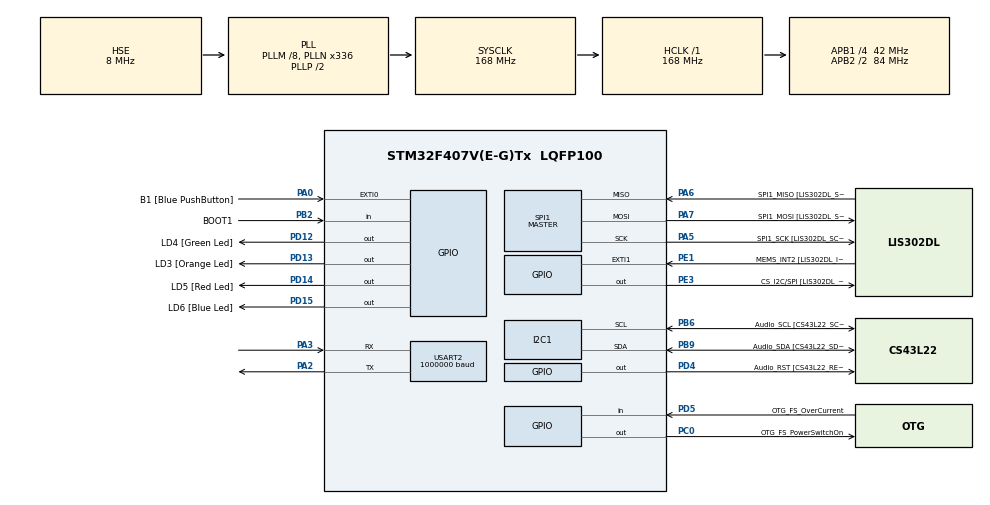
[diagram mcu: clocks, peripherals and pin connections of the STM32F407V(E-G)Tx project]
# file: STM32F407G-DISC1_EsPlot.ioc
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Dma.Request0=USART2_RX
Dma.Request1=USART2_TX
Dma.USART2_RX.0.Direction=DMA_PERIPH_TO_MEMORY
Dma.USART2_RX.0.FIFOMode=DMA_FIFOMODE_DISABLE
Dma.USART2_RX.0.Instance=DMA1_Stream5
Dma.USART2_RX.0.MemDataAlignment=DMA_MDATAALIGN_BYTE
Dma.USART2_RX.0.MemInc=DMA_MINC_ENABLE
Dma.USART2_RX.0.Mode=DMA_NORMAL
Dma.USART2_RX.0.PeriphDataAlignment=DMA_PDATAALIGN_BYTE
Dma.USART2_RX.0.PeriphInc=DMA_PINC_DISABLE
Dma.USART2_RX.0.Priority=DMA_PRIORITY_HIGH
Dma.USART2_TX.1.Direction=DMA_MEMORY_TO_PERIPH
Dma.USART2_TX.1.FIFOMode=DMA_FIFOMODE_DISABLE
Dma.USART2_TX.1.Instance=DMA1_Stream6
Dma.USART2_TX.1.MemDataAlignment=DMA_MDATAALIGN_BYTE
Dma.USART2_TX.1.MemInc=DMA_MINC_ENABLE
Dma.USART2_TX.1.Mode=DMA_CIRCULAR
Dma.USART2_TX.1.PeriphDataAlignment=DMA_PDATAALIGN_BYTE
Dma.USART2_TX.1.PeriphInc=DMA_PINC_DISABLE
Dma.USART2_TX.1.Priority=DMA_PRIORITY_HIGH
Mcu.Family=STM32F4
Mcu.Name=STM32F407V(E-G)Tx
Mcu.Package=LQFP100
NVIC.DMA1_Stream5_IRQn=true\:0\:0\:false\:false\:true\:false\:true\:true
NVIC.DMA1_Stream6_IRQn=true\:0\:0\:false\:false\:true\:false\:true\:true
NVIC.PriorityGroup=NVIC_PRIORITYGROUP_0
NVIC.TIM2_IRQn=true\:0\:0\:false\:false\:true\:true\:true\:true
PA0-WKUP.GPIO_Label=B1 [Blue PushButton]
PA0-WKUP.GPIO_ModeDefaultEXTI=GPIO_MODE_EVT_RISING
PA0-WKUP.GPIO_PuPd=GPIO_NOPULL
PA0-WKUP.Signal=GPXTI0
PA10.GPIO_Label=OTG_FS_ID
PA10.GPIO_Mode=GPIO_MODE_AF_PP
PA10.GPIO_PuPd=GPIO_NOPULL
PA10.GPIO_Speed=GPIO_SPEED_FREQ_LOW
PA10.Signal=USB_OTG_FS_ID
PA11.GPIO_Label=OTG_FS_DM
PA11.GPIO_Mode=GPIO_MODE_AF_PP
PA11.GPIO_PuPd=GPIO_NOPULL
PA11.GPIO_Speed=GPIO_SPEED_FREQ_LOW
PA11.Signal=USB_OTG_FS_DM
PA12.GPIO_Label=OTG_FS_DP
PA12.GPIO_Mode=GPIO_MODE_AF_PP
PA12.GPIO_PuPd=GPIO_NOPULL
PA12.GPIO_Speed=GPIO_SPEED_FREQ_LOW
PA12.Signal=USB_OTG_FS_DP
PA13.GPIO_Label=SWDIO
PA13.Mode=Trace_Asynchronous_SW
PA13.Signal=SYS_JTMS-SWDIO
PA14.GPIO_Label=SWCLK
PA14.Mode=Trace_Asynchronous_SW
PA14.Signal=SYS_JTCK-SWCLK
PA2.GPIO_Speed=GPIO_SPEED_FREQ_LOW
PA2.Mode=Asynchronous
PA2.Signal=USART2_TX
PA3.GPIO_Speed=GPIO_SPEED_FREQ_LOW
PA3.Mode=Asynchronous
PA3.Signal=USART2_RX
PA4.GPIO_Label=I2S3_WS [CS43L22_LRCK]
PA4.GPIO_Mode=GPIO_MODE_AF_PP
PA4.GPIO_PuPd=GPIO_NOPULL
PA4.GPIO_Speed=GPIO_SPEED_FREQ_LOW
PA4.Signal=I2S3_WS
PA5.GPIO_Label=SPI1_SCK [LIS302DL_SCL/SPC]
PA5.GPIO_Mode=GPIO_MODE_AF_PP
PA5.GPIO_PuPd=GPIO_NOPULL
PA5.GPIO_Speed=GPIO_SPEED_FREQ_LOW
PA5.Mode=Full_Duplex_Master
PA5.Signal=SPI1_SCK
PA6.GPIO_Label=SPI1_MISO [LIS302DL_SDO]
PA6.GPIO_Mode=GPIO_MODE_AF_PP
PA6.GPIO_PuPd=GPIO_NOPULL
PA6.GPIO_Speed=GPIO_SPEED_FREQ_LOW
PA6.Mode=Full_Duplex_Master
PA6.Signal=SPI1_MISO
PA7.GPIO_Label=SPI1_MOSI [LIS302DL_SDA/SDI/SDO]
PA7.GPIO_Mode=GPIO_MODE_AF_PP
PA7.GPIO_PuPd=GPIO_NOPULL
PA7.GPIO_Speed=GPIO_SPEED_FREQ_LOW
PA7.Mode=Full_Duplex_Master
PA7.Signal=SPI1_MOSI
PA9.GPIO_Label=VBUS_FS
PA9.GPIO_Mode=GPIO_MODE_INPUT
PA9.GPIO_PuPd=GPIO_NOPULL
PA9.Signal=USB_OTG_FS_VBUS
PB10.GPIO_Label=CLK_IN [MP45DT02_CLK]
PB10.GPIO_Mode=GPIO_MODE_AF_PP
PB10.GPIO_PuPd=GPIO_NOPULL
PB10.GPIO_Speed=GPIO_SPEED_FREQ_LOW
PB10.Signal=I2S2_CK
PB2.GPIO_Label=BOOT1
PB2.GPIO_Mode=GPIO_MODE_INPUT
PB2.GPIO_PuPd=GPIO_NOPULL
PB2.Signal=GPIO_Input
PB3.GPIO_Label=SWO
PB3.Mode=Trace_Asynchronous_SW
PB3.Signal=SYS_JTDO-SWO
PB6.GPIO_Label=Audio_SCL [CS43L22_SCL]
PB6.GPIO_Mode=GPIO_MODE_AF_OD
PB6.GPIO_Pu=GPIO_PULLUP
PB6.GPIO_PuPd=GPIO_NOPULL
PB6.GPIO_Speed=GPIO_SPEED_FREQ_LOW
PB6.Mode=I2C
PB6.Signal=I2C1_SCL
PB9.GPIO_Label=Audio_SDA [CS43L22_SDA]
PB9.GPIO_Mode=GPIO_MODE_AF_OD
PB9.GPIO_Pu=GPIO_PULLUP
PB9.GPIO_PuPd=GPIO_NOPULL
PB9.GPIO_Speed=GPIO_SPEED_FREQ_LOW
PB9.Mode=I2C
PB9.Signal=I2C1_SDA
PC0.GPIO_Label=OTG_FS_PowerSwitchOn
PC0.GPIO_PuPd=GPIO_NOPULL
PC0.GPIO_Speed=GPIO_SPEED_FREQ_LOW
PC0.PinState=GPIO_PIN_SET
PC0.Signal=GPIO_Output
PC10.GPIO_Label=I2S3_SCK [CS43L22_SCLK]
PC10.GPIO_Mode=GPIO_MODE_AF_PP
PC10.GPIO_PuPd=GPIO_NOPULL
PC10.GPIO_Speed=GPIO_SPEED_FREQ_LOW
PC10.Signal=I2S3_CK
PC12.GPIO_Label=I2S3_SD [CS43L22_SDIN]
PC12.GPIO_Mode=GPIO_MODE_AF_PP
PC12.GPIO_PuPd=GPIO_NOPULL
PC12.GPIO_Speed=GPIO_SPEED_FREQ_LOW
PC12.Signal=I2S3_SD
PC14-OSC32_IN.GPIO_Label=PC14-OSC32_IN
PC14-OSC32_IN.Mode=LSE-External-Oscillator
PC14-OSC32_IN.Signal=RCC_OSC32_IN
PC15-OSC32_OUT.GPIO_Label=PC15-OSC32_OUT
PC15-OSC32_OUT.Mode=LSE-External-Oscillator
PC15-OSC32_OUT.Signal=RCC_OSC32_OUT
PC3.GPIO_Label=PDM_OUT [MP45DT02_DOUT]
PC3.GPIO_Mode=GPIO_MODE_AF_PP
PC3.GPIO_PuPd=GPIO_NOPULL
PC3.GPIO_Speed=GPIO_SPEED_FREQ_LOW
PC3.Signal=I2S2_SD
PC7.GPIO_Label=I2S3_MCK [CS43L22_MCLK]
PC7.GPIO_Mode=GPIO_MODE_AF_PP
PC7.GPIO_PuPd=GPIO_NOPULL
PC7.GPIO_Speed=GPIO_SPEED_FREQ_LOW
PC7.Signal=I2S3_MCK
PD12.GPIO_Label=LD4 [Green Led]
PD12.GPIO_PuPd=GPIO_NOPULL
PD12.GPIO_Speed=GPIO_SPEED_FREQ_LOW
PD12.Signal=GPIO_Output
PD13.GPIO_Label=LD3 [Orange Led]
PD13.GPIO_PuPd=GPIO_NOPULL
PD13.GPIO_Speed=GPIO_SPEED_FREQ_LOW
PD13.Signal=GPIO_Output
PD14.GPIO_Label=LD5 [Red Led]
PD14.GPIO_PuPd=GPIO_NOPULL
PD14.GPIO_Speed=GPIO_SPEED_FREQ_LOW
PD14.Signal=GPIO_Output
PD15.GPIO_Label=LD6 [Blue Led]
PD15.GPIO_PuPd=GPIO_NOPULL
PD15.GPIO_Speed=GPIO_SPEED_FREQ_LOW
PD15.Signal=GPIO_Output
PD4.GPIO_Label=Audio_RST [CS43L22_RESET]
PD4.GPIO_PuPd=GPIO_NOPULL
PD4.GPIO_Speed=GPIO_SPEED_FREQ_LOW
PD4.Signal=GPIO_Output
PD5.GPIO_Label=OTG_FS_OverCurrent
PD5.GPIO_Mode=GPIO_MODE_INPUT
PD5.GPIO_PuPd=GPIO_NOPULL
PD5.Signal=GPIO_Input
PE1.GPIO_Label=MEMS_INT2 [LIS302DL_INT2]
PE1.GPIO_ModeDefaultEXTI=GPIO_MODE_EVT_RISING
PE1.GPIO_PuPd=GPIO_NOPULL
PE1.Signal=GPXTI1
PE3.GPIO_Label=CS_I2C/SPI [LIS302DL_CS_I2C/SPI]
PE3.GPIO_PuPd=GPIO_NOPULL
PE3.GPIO_Speed=GPIO_SPEED_FREQ_LOW
PE3.Signal=GPIO_Output
PH0-OSC_IN.GPIO_Label=PH0-OSC_IN
PH0-OSC_IN.Mode=HSE-External-Oscillator
PH0-OSC_IN.Signal=RCC_OSC_IN
PH1-OSC_OUT.GPIO_Label=PH1-OSC_OUT
PH1-OSC_OUT.Mode=HSE-External-Oscillator
PH1-OSC_OUT.Signal=RCC_OSC_OUT
ProjectManager.HeapSize=0x200
ProjectManager.StackSize=0x400
ProjectManager.TargetToolchain=STM32CubeIDE
RCC.48MHZClocksFreq_Value=48000000
RCC.AHBFreq_Value=168000000
RCC.APB1CLKDivider=RCC_HCLK_DIV4
RCC.APB1Freq_Value=42000000
RCC.APB1TimFreq_Value=84000000
RCC.APB2CLKDivider=RCC_HCLK_DIV2
RCC.APB2Freq_Value=84000000
RCC.APB2TimFreq_Value=168000000
RCC.CortexFreq_Value=168000000
RCC.HCLKFreq_Value=168000000
RCC.HSE_VALUE=8000000
RCC.HSI_VALUE=16000000
RCC.PLLM=8
RCC.PLLN=336
RCC.PLLQ=7
RCC.PLLSourceVirtual=RCC_PLLSOURCE_HSE
RCC.SYSCLKFreq_VALUE=168000000
RCC.SYSCLKSource=RCC_SYSCLKSOURCE_PLLCLK
RCC.VCOOutputFreq_Value=336000000
SPI1.BaudRatePrescaler-Full_Duplex_Master=SPI_BAUDRATEPRESCALER_2
SPI1.CalculateBaudRate-Full_Duplex_Master=42.0 MBits/s
SPI1.Direction=SPI_DIRECTION_2LINES
SPI1.Mode=SPI_MODE_MASTER
SPI1.Mode-Full_Duplex_Master=SPI_MODE_MASTER
SPI1.VirtualType=VM_MASTER
TIM2.AutoReloadPreload=TIM_AUTORELOAD_PRELOAD_ENABLE
TIM2.Period=100000-1
TIM2.Prescaler=168-1
TIM2.TIM_MasterOutputTrigger=TIM_TRGO_RESET
USART2.BaudRate=1000000
USART2.VirtualMode=VM_ASYNC
VP_TIM2_VS_ClockSourceINT.Mode=Internal
board=STM32F407G-DISC1

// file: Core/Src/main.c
/* USER CODE BEGIN Header */
/**
  ******************************************************************************
  * @file           : main.c
  * @brief          : Main program body
  ******************************************************************************
  * @attention
  *
  * Copyright (c) 2022 STMicroelectronics.
  * All rights reserved.
  *
  * This software is licensed under terms that can be found in the LICENSE file
  * in the root directory of this software component.
  * If no LICENSE file comes with this software, it is provided AS-IS.
  *
  ******************************************************************************
  */
/* USER CODE END Header */
#include "main.h"

/* USER CODE BEGIN Includes */

//#include <stdio.h>

// ESPlot
#pragma GCC diagnostic ignored "-Wdiscarded-qualifiers"

#define USART			0
#define FT4222			1
#define COMM_INTERFACE	USART

#include "comm_prot.h"
#include "math.h"

//Signals used for plotting
uint8_t  cnt_8 = 0;
uint16_t cnt_16 = 0;
float harmonic_signal = 0.0f;

/* USER CODE END Includes */

 I2C_HandleTypeDef hi2c1;

SPI_HandleTypeDef hspi1;

TIM_HandleTypeDef htim2;

UART_HandleTypeDef huart2;
DMA_HandleTypeDef hdma_usart2_rx;
DMA_HandleTypeDef hdma_usart2_tx;

/* USER CODE BEGIN PV */

// Structure of the USB Protocol
volatile comm_prot USB_COMM;

/* USER CODE END PV */

void SystemClock_Config(void);
static void MX_GPIO_Init(void);
static void MX_I2C1_Init(void);
static void MX_DMA_Init(void);
static void MX_USART2_UART_Init(void);
static void MX_SPI1_Init(void);
static void MX_TIM2_Init(void);
/* USER CODE BEGIN PFP */

//#define PUTCHAR_PROTOTYPE int __io_putchar(int ch)

/* USER CODE END PFP */

int main(void)
{

  /* MCU Configuration--------------------------------------------------------*/

  /* Reset of all peripherals, Initializes the Flash interface and the Systick. */
  HAL_Init();

  /* Configure the system clock */
  SystemClock_Config();

  /* Initialize all configured peripherals */
  MX_GPIO_Init();
  MX_I2C1_Init();
  MX_DMA_Init();
  MX_USART2_UART_Init();
  MX_SPI1_Init();
  MX_TIM2_Init();
  /* USER CODE BEGIN 2 */

  //Initialize the USB protocol
  comm_prot_init_struct(&USB_COMM);

  //Set rx signals
  comm_prot_set_rx_data_info(&USB_COMM, 0, "LED1");

  //Set tx signals
  comm_prot_set_tx_data_info(&USB_COMM, 0, SCALING_FACTOR_APPLIED, TYPE_UINT8,  "Test UINT8", 		PLOT_NR_1, 1.0, 4, BLACK);
  comm_prot_set_tx_data_info(&USB_COMM, 1, SCALING_FACTOR_APPLIED, TYPE_INT8,   "Test INT8", 		PLOT_NR_1, 2.0, 4, BLUE);
  comm_prot_set_tx_data_info(&USB_COMM, 2, SCALING_FACTOR_APPLIED, TYPE_UINT16, "Test UINT16", 		PLOT_NR_2, 3.14, 4, RED);
  comm_prot_set_tx_data_info(&USB_COMM, 3, SCALING_FACTOR_APPLIED, TYPE_INT16,  "Test INT16", 		PLOT_NR_2, 4.0, 4, RANDOM);
  comm_prot_set_tx_data_info(&USB_COMM, 4, SCALING_FACTOR_APPLIED, TYPE_UINT32, "Test UINT32", 		PLOT_NR_3, 2.0, 4, BLUE);
  comm_prot_set_tx_data_info(&USB_COMM, 5, SCALING_FACTOR_APPLIED, TYPE_INT32,  "Test INT32", 		PLOT_NR_3, 3.0, 4, RED);
  comm_prot_set_tx_data_info(&USB_COMM, 6, SCALING_FACTOR_APPLIED, TYPE_FLOAT,  "Test FLOAT", 		PLOT_NR_4, 1/3.14, 4, RANDOM);
  comm_prot_set_tx_data_info(&USB_COMM, 7, SCALING_FACTOR_NOT_APPLIED, TYPE_FLOAT, "Harmonic signal", PLOT_NR_5, 1.0, 4, BLACK);
  comm_prot_init_comm(&USB_COMM);

  //Initiate first transfer to set all the settings
//  HAL_SPI_TransmitReceive_DMA(&hspi3, (uint8_t*) USB_COMM.tx_i_buff, (uint8_t*) USB_COMM.rx_d_buff, (uint16_t) USB_COMM.buff_dimension_info);
//  HAL_StatusTypeDef HAL_SPI_TransmitReceive_DMA(SPI_HandleTypeDef *hspi, uint8_t *pTxData, uint8_t *pRxData, uint16_t Size)

//  HAL_UART_Transmit_DMA(&huart2, (uint8_t*) USB_COMM.tx_i_buff, (uint16_t) USB_COMM.buff_dimension_info);
//  HAL_UART_Receive_DMA(&huart2, (uint8_t*) USB_COMM.rx_d_buff, (uint16_t) USB_COMM.buff_dimension_info);

  // start_data_transfer(uint32_t buffer_size, uint8_t* tx_data_buff, uint8_t* rx_data_buff);
  start_data_transfer((uint16_t) USB_COMM.buff_dimension_info, (uint8_t*) USB_COMM.tx_i_buff, (uint8_t*) USB_COMM.rx_i_buff);

  //Start Timer (1 kHz Timer)
  HAL_TIM_Base_Start_IT(&htim2);

  /* USER CODE END 2 */

  /* Infinite loop */
  /* USER CODE BEGIN WHILE */
  while (1)
  {

	  HAL_Delay(2000);
	  comm_prot_set_cmd(&USB_COMM, RECORD_CMD);
      HAL_Delay(2000);
	  comm_prot_set_cmd(&USB_COMM, NO_CMD);
    /* USER CODE END WHILE */

  }
}

void SystemClock_Config(void)
{
  RCC_OscInitTypeDef RCC_OscInitStruct = {0};
  RCC_ClkInitTypeDef RCC_ClkInitStruct = {0};

  /** Configure the main internal regulator output voltage
  */
  __HAL_RCC_PWR_CLK_ENABLE();
  __HAL_PWR_VOLTAGESCALING_CONFIG(PWR_REGULATOR_VOLTAGE_SCALE1);

  /** Initializes the RCC Oscillators according to the specified parameters
  * in the RCC_OscInitTypeDef structure.
  */
  RCC_OscInitStruct.OscillatorType = RCC_OSCILLATORTYPE_HSE;
  RCC_OscInitStruct.HSEState = RCC_HSE_ON;
  RCC_OscInitStruct.PLL.PLLState = RCC_PLL_ON;
  RCC_OscInitStruct.PLL.PLLSource = RCC_PLLSOURCE_HSE;
  RCC_OscInitStruct.PLL.PLLM = 8;
  RCC_OscInitStruct.PLL.PLLN = 336;
  RCC_OscInitStruct.PLL.PLLP = RCC_PLLP_DIV2;
  RCC_OscInitStruct.PLL.PLLQ = 7;
  if (HAL_RCC_OscConfig(&RCC_OscInitStruct) != HAL_OK)
  {
    Error_Handler();
  }

  /** Initializes the CPU, AHB and APB buses clocks
  */
  RCC_ClkInitStruct.ClockType = RCC_CLOCKTYPE_HCLK|RCC_CLOCKTYPE_SYSCLK
                              |RCC_CLOCKTYPE_PCLK1|RCC_CLOCKTYPE_PCLK2;
  RCC_ClkInitStruct.SYSCLKSource = RCC_SYSCLKSOURCE_PLLCLK;
  RCC_ClkInitStruct.AHBCLKDivider = RCC_SYSCLK_DIV1;
  RCC_ClkInitStruct.APB1CLKDivider = RCC_HCLK_DIV4;
  RCC_ClkInitStruct.APB2CLKDivider = RCC_HCLK_DIV2;

  if (HAL_RCC_ClockConfig(&RCC_ClkInitStruct, FLASH_LATENCY_5) != HAL_OK)
  {
    Error_Handler();
  }
}

static void MX_I2C1_Init(void)
{

  hi2c1.Instance = I2C1;
  hi2c1.Init.ClockSpeed = 100000;
  hi2c1.Init.DutyCycle = I2C_DUTYCYCLE_2;
  hi2c1.Init.OwnAddress1 = 0;
  hi2c1.Init.AddressingMode = I2C_ADDRESSINGMODE_7BIT;
  hi2c1.Init.DualAddressMode = I2C_DUALADDRESS_DISABLE;
  hi2c1.Init.OwnAddress2 = 0;
  hi2c1.Init.GeneralCallMode = I2C_GENERALCALL_DISABLE;
  hi2c1.Init.NoStretchMode = I2C_NOSTRETCH_DISABLE;
  if (HAL_I2C_Init(&hi2c1) != HAL_OK)
  {
    Error_Handler();
  }

}

static void MX_SPI1_Init(void)
{

  /* SPI1 parameter configuration*/
  hspi1.Instance = SPI1;
  hspi1.Init.Mode = SPI_MODE_MASTER;
  hspi1.Init.Direction = SPI_DIRECTION_2LINES;
  hspi1.Init.DataSize = SPI_DATASIZE_8BIT;
  hspi1.Init.CLKPolarity = SPI_POLARITY_LOW;
  hspi1.Init.CLKPhase = SPI_PHASE_1EDGE;
  hspi1.Init.NSS = SPI_NSS_SOFT;
  hspi1.Init.BaudRatePrescaler = SPI_BAUDRATEPRESCALER_2;
  hspi1.Init.FirstBit = SPI_FIRSTBIT_MSB;
  hspi1.Init.TIMode = SPI_TIMODE_DISABLE;
  hspi1.Init.CRCCalculation = SPI_CRCCALCULATION_DISABLE;
  hspi1.Init.CRCPolynomial = 10;
  if (HAL_SPI_Init(&hspi1) != HAL_OK)
  {
    Error_Handler();
  }

}

static void MX_TIM2_Init(void)
{

  TIM_ClockConfigTypeDef sClockSourceConfig = {0};
  TIM_MasterConfigTypeDef sMasterConfig = {0};

  htim2.Instance = TIM2;
  htim2.Init.Prescaler = 168-1;
  htim2.Init.CounterMode = TIM_COUNTERMODE_UP;
  htim2.Init.Period = 100000-1;
  htim2.Init.ClockDivision = TIM_CLOCKDIVISION_DIV1;
  htim2.Init.AutoReloadPreload = TIM_AUTORELOAD_PRELOAD_ENABLE;
  if (HAL_TIM_Base_Init(&htim2) != HAL_OK)
  {
    Error_Handler();
  }
  sClockSourceConfig.ClockSource = TIM_CLOCKSOURCE_INTERNAL;
  if (HAL_TIM_ConfigClockSource(&htim2, &sClockSourceConfig) != HAL_OK)
  {
    Error_Handler();
  }
  sMasterConfig.MasterOutputTrigger = TIM_TRGO_RESET;
  sMasterConfig.MasterSlaveMode = TIM_MASTERSLAVEMODE_DISABLE;
  if (HAL_TIMEx_MasterConfigSynchronization(&htim2, &sMasterConfig) != HAL_OK)
  {
    Error_Handler();
  }

}

static void MX_USART2_UART_Init(void)
{

  huart2.Instance = USART2;
  huart2.Init.BaudRate = 1000000;
  huart2.Init.WordLength = UART_WORDLENGTH_8B;
  huart2.Init.StopBits = UART_STOPBITS_1;
  huart2.Init.Parity = UART_PARITY_NONE;
  huart2.Init.Mode = UART_MODE_TX_RX;
  huart2.Init.HwFlowCtl = UART_HWCONTROL_NONE;
  huart2.Init.OverSampling = UART_OVERSAMPLING_16;
  if (HAL_UART_Init(&huart2) != HAL_OK)
  {
    Error_Handler();
  }

}

static void MX_DMA_Init(void)
{

  /* DMA controller clock enable */
  __HAL_RCC_DMA1_CLK_ENABLE();

  /* DMA interrupt init */
  /* DMA1_Stream5_IRQn interrupt configuration */
  HAL_NVIC_SetPriority(DMA1_Stream5_IRQn, 0, 0);
  HAL_NVIC_EnableIRQ(DMA1_Stream5_IRQn);
  /* DMA1_Stream6_IRQn interrupt configuration */
  HAL_NVIC_SetPriority(DMA1_Stream6_IRQn, 0, 0);
  HAL_NVIC_EnableIRQ(DMA1_Stream6_IRQn);

}

static void MX_GPIO_Init(void)
{
  GPIO_InitTypeDef GPIO_InitStruct = {0};

  /* GPIO Ports Clock Enable */
  __HAL_RCC_GPIOE_CLK_ENABLE();
  __HAL_RCC_GPIOC_CLK_ENABLE();
  __HAL_RCC_GPIOH_CLK_ENABLE();
  __HAL_RCC_GPIOA_CLK_ENABLE();
  __HAL_RCC_GPIOB_CLK_ENABLE();
  __HAL_RCC_GPIOD_CLK_ENABLE();

  /*Configure GPIO pin Output Level */
  HAL_GPIO_WritePin(CS_I2C_SPI_GPIO_Port, CS_I2C_SPI_Pin, GPIO_PIN_RESET);

  /*Configure GPIO pin Output Level */
  HAL_GPIO_WritePin(OTG_FS_PowerSwitchOn_GPIO_Port, OTG_FS_PowerSwitchOn_Pin, GPIO_PIN_SET);

  /*Configure GPIO pin Output Level */
  HAL_GPIO_WritePin(GPIOD, LD4_Pin|LD3_Pin|LD5_Pin|LD6_Pin
                          |Audio_RST_Pin, GPIO_PIN_RESET);

  /*Configure GPIO pin : CS_I2C_SPI_Pin */
  GPIO_InitStruct.Pin = CS_I2C_SPI_Pin;
  GPIO_InitStruct.Mode = GPIO_MODE_OUTPUT_PP;
  GPIO_InitStruct.Pull = GPIO_NOPULL;
  GPIO_InitStruct.Speed = GPIO_SPEED_FREQ_LOW;
  HAL_GPIO_Init(CS_I2C_SPI_GPIO_Port, &GPIO_InitStruct);

  /*Configure GPIO pin : OTG_FS_PowerSwitchOn_Pin */
  GPIO_InitStruct.Pin = OTG_FS_PowerSwitchOn_Pin;
  GPIO_InitStruct.Mode = GPIO_MODE_OUTPUT_PP;
  GPIO_InitStruct.Pull = GPIO_NOPULL;
  GPIO_InitStruct.Speed = GPIO_SPEED_FREQ_LOW;
  HAL_GPIO_Init(OTG_FS_PowerSwitchOn_GPIO_Port, &GPIO_InitStruct);

  /*Configure GPIO pin : PDM_OUT_Pin */
  GPIO_InitStruct.Pin = PDM_OUT_Pin;
  GPIO_InitStruct.Mode = GPIO_MODE_AF_PP;
  GPIO_InitStruct.Pull = GPIO_NOPULL;
  GPIO_InitStruct.Speed = GPIO_SPEED_FREQ_LOW;
  GPIO_InitStruct.Alternate = GPIO_AF5_SPI2;
  HAL_GPIO_Init(PDM_OUT_GPIO_Port, &GPIO_InitStruct);

  /*Configure GPIO pin : B1_Pin */
  GPIO_InitStruct.Pin = B1_Pin;
  GPIO_InitStruct.Mode = GPIO_MODE_EVT_RISING;
  GPIO_InitStruct.Pull = GPIO_NOPULL;
  HAL_GPIO_Init(B1_GPIO_Port, &GPIO_InitStruct);

  /*Configure GPIO pin : I2S3_WS_Pin */
  GPIO_InitStruct.Pin = I2S3_WS_Pin;
  GPIO_InitStruct.Mode = GPIO_MODE_AF_PP;
  GPIO_InitStruct.Pull = GPIO_NOPULL;
  GPIO_InitStruct.Speed = GPIO_SPEED_FREQ_LOW;
  GPIO_InitStruct.Alternate = GPIO_AF6_SPI3;
  HAL_GPIO_Init(I2S3_WS_GPIO_Port, &GPIO_InitStruct);

  /*Configure GPIO pin : BOOT1_Pin */
  GPIO_InitStruct.Pin = BOOT1_Pin;
  GPIO_InitStruct.Mode = GPIO_MODE_INPUT;
  GPIO_InitStruct.Pull = GPIO_NOPULL;
  HAL_GPIO_Init(BOOT1_GPIO_Port, &GPIO_InitStruct);

  /*Configure GPIO pin : CLK_IN_Pin */
  GPIO_InitStruct.Pin = CLK_IN_Pin;
  GPIO_InitStruct.Mode = GPIO_MODE_AF_PP;
  GPIO_InitStruct.Pull = GPIO_NOPULL;
  GPIO_InitStruct.Speed = GPIO_SPEED_FREQ_LOW;
  GPIO_InitStruct.Alternate = GPIO_AF5_SPI2;
  HAL_GPIO_Init(CLK_IN_GPIO_Port, &GPIO_InitStruct);

  /*Configure GPIO pins : LD4_Pin LD3_Pin LD5_Pin LD6_Pin
                           Audio_RST_Pin */
  GPIO_InitStruct.Pin = LD4_Pin|LD3_Pin|LD5_Pin|LD6_Pin
                          |Audio_RST_Pin;
  GPIO_InitStruct.Mode = GPIO_MODE_OUTPUT_PP;
  GPIO_InitStruct.Pull = GPIO_NOPULL;
  GPIO_InitStruct.Speed = GPIO_SPEED_FREQ_LOW;
  HAL_GPIO_Init(GPIOD, &GPIO_InitStruct);

  /*Configure GPIO pins : I2S3_MCK_Pin I2S3_SCK_Pin I2S3_SD_Pin */
  GPIO_InitStruct.Pin = I2S3_MCK_Pin|I2S3_SCK_Pin|I2S3_SD_Pin;
  GPIO_InitStruct.Mode = GPIO_MODE_AF_PP;
  GPIO_InitStruct.Pull = GPIO_NOPULL;
  GPIO_InitStruct.Speed = GPIO_SPEED_FREQ_LOW;
  GPIO_InitStruct.Alternate = GPIO_AF6_SPI3;
  HAL_GPIO_Init(GPIOC, &GPIO_InitStruct);

  /*Configure GPIO pin : VBUS_FS_Pin */
  GPIO_InitStruct.Pin = VBUS_FS_Pin;
  GPIO_InitStruct.Mode = GPIO_MODE_INPUT;
  GPIO_InitStruct.Pull = GPIO_NOPULL;
  HAL_GPIO_Init(VBUS_FS_GPIO_Port, &GPIO_InitStruct);

  /*Configure GPIO pins : OTG_FS_ID_Pin OTG_FS_DM_Pin OTG_FS_DP_Pin */
  GPIO_InitStruct.Pin = OTG_FS_ID_Pin|OTG_FS_DM_Pin|OTG_FS_DP_Pin;
  GPIO_InitStruct.Mode = GPIO_MODE_AF_PP;
  GPIO_InitStruct.Pull = GPIO_NOPULL;
  GPIO_InitStruct.Speed = GPIO_SPEED_FREQ_LOW;
  GPIO_InitStruct.Alternate = GPIO_AF10_OTG_FS;
  HAL_GPIO_Init(GPIOA, &GPIO_InitStruct);

  /*Configure GPIO pin : OTG_FS_OverCurrent_Pin */
  GPIO_InitStruct.Pin = OTG_FS_OverCurrent_Pin;
  GPIO_InitStruct.Mode = GPIO_MODE_INPUT;
  GPIO_InitStruct.Pull = GPIO_NOPULL;
  HAL_GPIO_Init(OTG_FS_OverCurrent_GPIO_Port, &GPIO_InitStruct);

  /*Configure GPIO pin : MEMS_INT2_Pin */
  GPIO_InitStruct.Pin = MEMS_INT2_Pin;
  GPIO_InitStruct.Mode = GPIO_MODE_EVT_RISING;
  GPIO_InitStruct.Pull = GPIO_NOPULL;
  HAL_GPIO_Init(MEMS_INT2_GPIO_Port, &GPIO_InitStruct);

}

/* USER CODE BEGIN 4 */

//PUTCHAR_PROTOTYPE {
//	/* Place your implementation of fputc here */
//	/* e.g. write a character to the LPUART1 and Loop until the end of transmission */
//	HAL_UART_Transmit(&huart2, (uint8_t*) &ch, 1, 0xFFFF);
//
//	return ch;
//}

/**
 * Function of the protocol used for transmitting data
 */
void start_data_transfer(uint32_t buffer_size, uint8_t* tx_data_buff, uint8_t* rx_data_buff)
{

#if (COMM_INTERFACE == FT4222)
	HAL_SPI_TransmitReceive_DMA(&hspi3, (uint8_t*) tx_data_buff, (uint8_t*) rx_data_buff, (uint16_t) buffer_size);
	//Quick_HAL_SPI_Transfer(buffer_size, tx_data_buff, rx_data_buff);
#elif (COMM_INTERFACE == USART)
	HAL_UART_Receive_DMA(&huart2, (uint8_t*) rx_data_buff, (uint16_t) buffer_size);
	HAL_UART_Transmit_DMA(&huart2, (uint8_t*) tx_data_buff, (uint16_t) buffer_size);
#endif

}

/**
 * Function of the protocol used for getting the actual transmission status
 */
uint8_t  get_transfer_status()
{

#if (COMM_INTERFACE == FT4222)
	if (HAL_SPI_GetState(&hspi3) == HAL_SPI_STATE_READY)
		return  1;
	else
		return 0;
#elif (COMM_INTERFACE == USART)
	if (HAL_UART_GetState(&huart2) != HAL_UART_STATE_BUSY_TX)
		return  1;
	else
		return 0;
#endif

}

void HAL_TIM_PeriodElapsedCallback(TIM_HandleTypeDef *htim)
{
  /* Prevent unused argument(s) compilation warning */
  UNUSED(htim);

  /* NOTE : This function should not be modified, when the callback is needed,
            the HAL_TIM_PeriodElapsedCallback could be implemented in the user file
   */

  HAL_GPIO_TogglePin(GPIOD, GPIO_PIN_12);

	cnt_8++; //increment counter variable until it overflows
	harmonic_signal = 3.0f * sinf(2.0f*3.14f*((float)cnt_16)/1000.0f) + 0.5f * sinf(2.0f*3.14f*5.0f*((float)cnt_16)/1000.0f)+ 0.05f * sinf(2.0f*3.14f*50.0f*((float)cnt_16)/1000.0f);
	cnt_16++;
	if (cnt_16 > 999)
		cnt_16 = 0;

	//Set tx signals
	comm_prot_write_tx_value(&USB_COMM, 0, (cnt_8));
	comm_prot_write_tx_value(&USB_COMM, 1, (cnt_8 - 127));
	comm_prot_write_tx_value(&USB_COMM, 2, (cnt_8*256));
	comm_prot_write_tx_value(&USB_COMM, 3, (cnt_8-127)*256);
	comm_prot_write_tx_value(&USB_COMM, 4, (cnt_8*1000));
	comm_prot_write_tx_value(&USB_COMM, 5, (cnt_8-127)*1000);
	comm_prot_write_tx_value(&USB_COMM, 6, 3.14f*(float)cnt_8);
	comm_prot_write_tx_value(&USB_COMM, 7, harmonic_signal);

	//Update Communication
	comm_prot_manager(&USB_COMM);

	//Read rx signals
	uint8_t led = comm_prot_get_rx_value(&USB_COMM, 0);

	//Switch LED1 accordingly to the received value
	if (led == 1)
		HAL_GPIO_WritePin(GPIOD, GPIO_PIN_13, 1);
	else
		HAL_GPIO_WritePin(GPIOD, GPIO_PIN_13, 0);

//	//Switch RGB LED accordingly to received terminal command
//	char red[16] = "LED RED";
//	char green[16] = "LED GREEN";
//	char blue[16] = "LED BLUE";
//	char off[16] = "LED OFF";
//	if (strcmp(USB_COMM.terminal_cmd, red) == 0)
//	{
//		  HAL_GPIO_WritePin(GPIOD, GPIO_PIN_14, GPIO_PIN_SET);
//		  HAL_GPIO_WritePin(GPIOD, GPIO_PIN_12, GPIO_PIN_RESET);
//		  HAL_GPIO_WritePin(GPIOD, GPIO_PIN_15, GPIO_PIN_RESET);
//	}
//	else if (strcmp(USB_COMM.terminal_cmd, green) == 0)
//	{
//		  HAL_GPIO_WritePin(GPIOD, GPIO_PIN_14, GPIO_PIN_RESET);
//		  HAL_GPIO_WritePin(GPIOD, GPIO_PIN_12, GPIO_PIN_SET);
//		  HAL_GPIO_WritePin(GPIOD, GPIO_PIN_15, GPIO_PIN_RESET);
//	}
//	else if (strcmp(USB_COMM.terminal_cmd, blue) == 0)
//	{
//		  HAL_GPIO_WritePin(GPIOD, GPIO_PIN_14, GPIO_PIN_RESET);
//		  HAL_GPIO_WritePin(GPIOD, GPIO_PIN_12, GPIO_PIN_RESET);
//		  HAL_GPIO_WritePin(GPIOD, GPIO_PIN_15, GPIO_PIN_SET);
//	}
//	else if (strcmp(USB_COMM.terminal_cmd, off) == 0)
//	{
//		  HAL_GPIO_WritePin(GPIOD, GPIO_PIN_14, GPIO_PIN_RESET);
//		  HAL_GPIO_WritePin(GPIOD, GPIO_PIN_12, GPIO_PIN_RESET);
//		  HAL_GPIO_WritePin(GPIOD, GPIO_PIN_15, GPIO_PIN_RESET);
//	}

	//Switch LED2 accordingly if the connection is established or not
	if(USB_COMM.comm_state == ESTABLISHED)
		HAL_GPIO_WritePin(GPIOD, GPIO_PIN_14, 1);
	else
		HAL_GPIO_WritePin(GPIOD, GPIO_PIN_14, 0);

	if (get_transfer_status())
		HAL_GPIO_WritePin(GPIOD, GPIO_PIN_15, 1);
	else
		HAL_GPIO_WritePin(GPIOD, GPIO_PIN_15, 0);

}

/* USER CODE END 4 */

void Error_Handler(void)
{
  __disable_irq();
  while (1)
  {
  }
}
